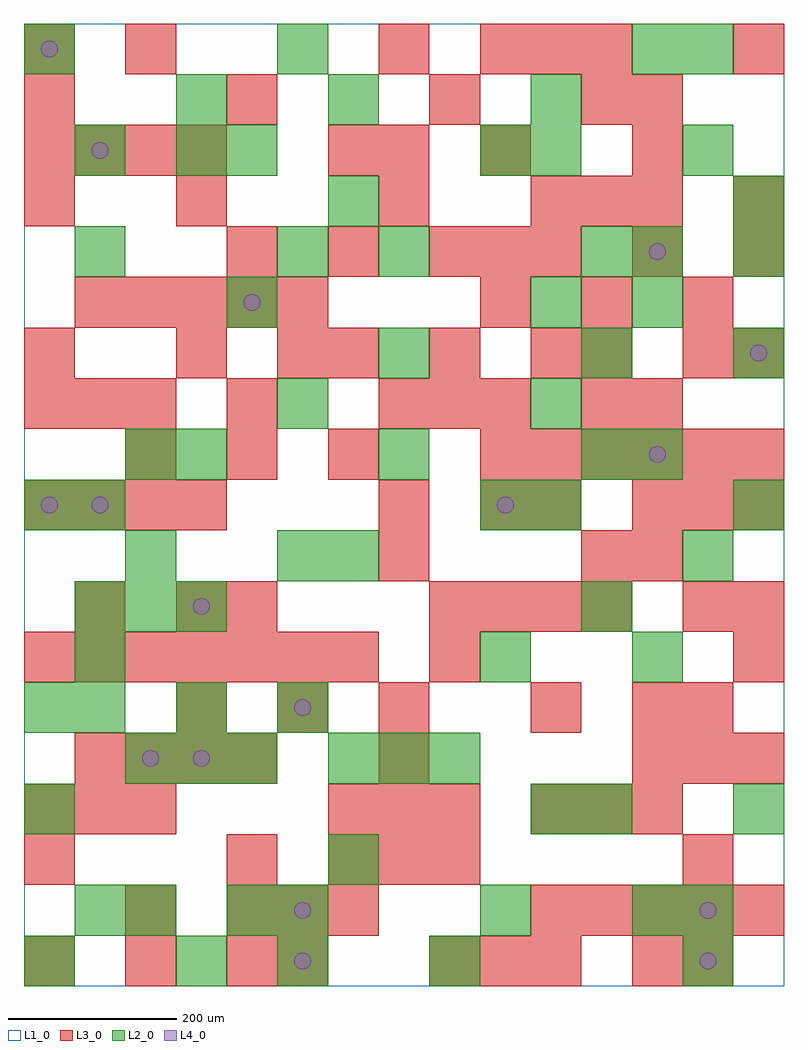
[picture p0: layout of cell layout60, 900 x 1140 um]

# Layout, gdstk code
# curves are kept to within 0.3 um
import gdstk
lib = gdstk.Library(unit=1e-6, precision=1e-09)
def R(c, l, rs):  # rectangles x0, y0, x1, y1
    for r in rs: c.add(gdstk.rectangle(r[:2], r[2:], *l))
def A(c, l, x, y, w, h, nx, ny, dx, dy):  # array of equal rectangles
    R(c, l, [(x+i*dx, y+j*dy, x+i*dx+w, y+j*dy+h) for i in range(nx) for j in range(ny)])
def P(c, l, *ps):  # polygons
    for p in ps: c.add(gdstk.Polygon(p, *l))
L1_0 = (1, 0)
L2_0 = (2, 0)
L3_0 = (3, 0)
L4_0 = (4, 0)

layout60 = lib.new_cell('layout60')
R(layout60, L1_0, [(0,0,900,1140)])
A(layout60, L2_0, 120, 240, 60, 60, 3, 1, 60, 0)
A(layout60, L2_0, 360, 240, 60, 60, 3, 1, 60, 0)
A(layout60, L2_0, 60, 300, 60, 60, 3, 1, 120, 0)
A(layout60, L2_0, 60, 420, 60, 60, 3, 1, 60, 0)
A(layout60, L2_0, 300, 480, 60, 60, 1, 3, 0, 180)
A(layout60, L2_0, 600, 540, 60, 60, 1, 3, 0, 120)
A(layout60, L2_0, 180, 600, 60, 60, 3, 1, 240, 0)
R(layout60, L2_0, [(0,0,60,60), (180,0,240,60), (300,0,360,60), (480,0,540,60), (780,0,840,60), (60,60,120,120), (120,60,180,120), (240,60,300,120), (300,60,360,120), (540,60,600,120), (720,60,780,120), (780,60,840,120), (360,120,420,180), (0,180,60,240), (600,180,660,240), (660,180,720,240), (840,180,900,240), (0,300,60,360), (60,360,120,420), (540,360,600,420), (720,360,780,420), (660,420,720,480), (120,480,180,540), (360,480,420,540), (780,480,840,540), (0,540,60,600), (60,540,120,600), (540,540,600,600), (840,540,900,600), (120,600,180,660), (720,600,780,660), (420,720,480,780), (660,720,720,780), (840,720,900,780), (240,780,300,840), (720,780,780,840), (60,840,120,900), (420,840,480,900), (660,840,720,900), (720,840,780,900), (840,840,900,900), (360,900,420,960), (840,900,900,960), (60,960,120,1020), (180,960,240,1020), (240,960,300,1020), (540,960,600,1020), (600,960,660,1020), (780,960,840,1020), (180,1020,240,1080), (360,1020,420,1080), (600,1020,660,1080), (0,1080,60,1140), (300,1080,360,1140), (720,1080,780,1140), (780,1080,840,1140)])
A(layout60, L3_0, 0, 0, 60, 60, 3, 1, 120, 0)
A(layout60, L3_0, 480, 0, 60, 60, 3, 1, 60, 0)
A(layout60, L3_0, 240, 60, 60, 60, 3, 1, 60, 0)
A(layout60, L3_0, 600, 60, 60, 60, 5, 1, 60, 0)
A(layout60, L3_0, 360, 120, 60, 60, 3, 2, 60, 60)
A(layout60, L3_0, 0, 180, 60, 60, 3, 2, 60, 480)
A(layout60, L3_0, 600, 180, 60, 60, 3, 2, 60, 720)
A(layout60, L3_0, 60, 240, 60, 60, 4, 1, 60, 0)
A(layout60, L3_0, 720, 240, 60, 60, 3, 2, 60, 300)
A(layout60, L3_0, 180, 300, 60, 60, 3, 1, 120, 0)
A(layout60, L3_0, 720, 300, 60, 60, 1, 3, 0, 180)
A(layout60, L3_0, 0, 360, 60, 60, 7, 1, 60, 0)
A(layout60, L3_0, 480, 420, 60, 60, 4, 1, 60, 0)
A(layout60, L3_0, 0, 540, 60, 60, 4, 2, 60, 420)
A(layout60, L3_0, 120, 600, 60, 60, 3, 1, 120, 0)
A(layout60, L3_0, 540, 600, 60, 60, 6, 1, 60, 0)
A(layout60, L3_0, 420, 660, 60, 60, 3, 1, 60, 0)
A(layout60, L3_0, 0, 720, 60, 60, 1, 3, 0, 180)
A(layout60, L3_0, 360, 720, 60, 60, 3, 1, 120, 0)
A(layout60, L3_0, 840, 720, 60, 60, 1, 3, 0, 180)
A(layout60, L3_0, 60, 780, 60, 60, 5, 1, 60, 0)
A(layout60, L3_0, 540, 780, 60, 60, 3, 1, 120, 0)
A(layout60, L3_0, 240, 840, 60, 60, 3, 1, 120, 0)
A(layout60, L3_0, 600, 840, 60, 60, 3, 1, 120, 0)
A(layout60, L3_0, 0, 1020, 60, 60, 3, 1, 240, 0)
A(layout60, L3_0, 540, 1080, 60, 60, 3, 1, 60, 0)
R(layout60, L3_0, [(300,0,360,60), (720,0,780,60), (780,0,840,60), (120,60,180,120), (0,120,60,180), (240,120,300,180), (780,120,840,180), (420,240,480,300), (600,300,660,360), (780,300,840,360), (480,360,540,420), (840,360,900,420), (60,420,120,480), (180,420,240,480), (240,420,300,480), (780,420,840,480), (840,420,900,480), (420,480,480,540), (660,480,720,540), (420,540,480,600), (540,540,600,600), (600,540,660,600), (240,660,300,720), (660,660,720,720), (180,720,240,780), (300,720,360,780), (660,720,720,780), (780,720,840,780), (540,840,600,900), (180,900,240,960), (420,900,480,960), (360,960,420,1020), (420,960,480,1020), (540,960,600,1020), (720,960,780,1020), (660,1020,720,1080), (720,1020,780,1080), (120,1080,180,1140), (420,1080,480,1140)])
P(layout60, L4_0, [(40,570),(39.239,573.827),(37.071,577.071),(33.827,579.239),(30,580),(26.173,579.239),(22.929,577.071),(20.761,573.827),(20,570),(20.761,566.173),(22.929,562.929),(26.173,560.761),(30,560),(33.827,560.761),(37.071,562.929),(39.239,566.173)],
  [(40,1110),(39.239,1113.827),(37.071,1117.071),(33.827,1119.239),(30,1120),(26.173,1119.239),(22.929,1117.071),(20.761,1113.827),(20,1110),(20.761,1106.173),(22.929,1102.929),(26.173,1100.761),(30,1100),(33.827,1100.761),(37.071,1102.929),(39.239,1106.173)],
  [(100,570),(99.239,573.827),(97.071,577.071),(93.827,579.239),(90,580),(86.173,579.239),(82.929,577.071),(80.761,573.827),(80,570),(80.761,566.173),(82.929,562.929),(86.173,560.761),(90,560),(93.827,560.761),(97.071,562.929),(99.239,566.173)],
  [(100,990),(99.239,993.827),(97.071,997.071),(93.827,999.239),(90,1000),(86.173,999.239),(82.929,997.071),(80.761,993.827),(80,990),(80.761,986.173),(82.929,982.929),(86.173,980.761),(90,980),(93.827,980.761),(97.071,982.929),(99.239,986.173)],
  [(160,270),(159.239,273.827),(157.071,277.071),(153.827,279.239),(150,280),(146.173,279.239),(142.929,277.071),(140.761,273.827),(140,270),(140.761,266.173),(142.929,262.929),(146.173,260.761),(150,260),(153.827,260.761),(157.071,262.929),(159.239,266.173)],
  [(220,270),(219.239,273.827),(217.071,277.071),(213.827,279.239),(210,280),(206.173,279.239),(202.929,277.071),(200.761,273.827),(200,270),(200.761,266.173),(202.929,262.929),(206.173,260.761),(210,260),(213.827,260.761),(217.071,262.929),(219.239,266.173)],
  [(220,450),(219.239,453.827),(217.071,457.071),(213.827,459.239),(210,460),(206.173,459.239),(202.929,457.071),(200.761,453.827),(200,450),(200.761,446.173),(202.929,442.929),(206.173,440.761),(210,440),(213.827,440.761),(217.071,442.929),(219.239,446.173)],
  [(280,810),(279.239,813.827),(277.071,817.071),(273.827,819.239),(270,820),(266.173,819.239),(262.929,817.071),(260.761,813.827),(260,810),(260.761,806.173),(262.929,802.929),(266.173,800.761),(270,800),(273.827,800.761),(277.071,802.929),(279.239,806.173)],
  [(340,30),(339.239,33.827),(337.071,37.071),(333.827,39.239),(330,40),(326.173,39.239),(322.929,37.071),(320.761,33.827),(320,30),(320.761,26.173),(322.929,22.929),(326.173,20.761),(330,20),(333.827,20.761),(337.071,22.929),(339.239,26.173)],
  [(340,90),(339.239,93.827),(337.071,97.071),(333.827,99.239),(330,100),(326.173,99.239),(322.929,97.071),(320.761,93.827),(320,90),(320.761,86.173),(322.929,82.929),(326.173,80.761),(330,80),(333.827,80.761),(337.071,82.929),(339.239,86.173)],
  [(340,330),(339.239,333.827),(337.071,337.071),(333.827,339.239),(330,340),(326.173,339.239),(322.929,337.071),(320.761,333.827),(320,330),(320.761,326.173),(322.929,322.929),(326.173,320.761),(330,320),(333.827,320.761),(337.071,322.929),(339.239,326.173)],
  [(580,570),(579.239,573.827),(577.071,577.071),(573.827,579.239),(570,580),(566.173,579.239),(562.929,577.071),(560.761,573.827),(560,570),(560.761,566.173),(562.929,562.929),(566.173,560.761),(570,560),(573.827,560.761),(577.071,562.929),(579.239,566.173)],
  [(760,630),(759.239,633.827),(757.071,637.071),(753.827,639.239),(750,640),(746.173,639.239),(742.929,637.071),(740.761,633.827),(740,630),(740.761,626.173),(742.929,622.929),(746.173,620.761),(750,620),(753.827,620.761),(757.071,622.929),(759.239,626.173)],
  [(760,870),(759.239,873.827),(757.071,877.071),(753.827,879.239),(750,880),(746.173,879.239),(742.929,877.071),(740.761,873.827),(740,870),(740.761,866.173),(742.929,862.929),(746.173,860.761),(750,860),(753.827,860.761),(757.071,862.929),(759.239,866.173)],
  [(820,30),(819.239,33.827),(817.071,37.071),(813.827,39.239),(810,40),(806.173,39.239),(802.929,37.071),(800.761,33.827),(800,30),(800.761,26.173),(802.929,22.929),(806.173,20.761),(810,20),(813.827,20.761),(817.071,22.929),(819.239,26.173)],
  [(820,90),(819.239,93.827),(817.071,97.071),(813.827,99.239),(810,100),(806.173,99.239),(802.929,97.071),(800.761,93.827),(800,90),(800.761,86.173),(802.929,82.929),(806.173,80.761),(810,80),(813.827,80.761),(817.071,82.929),(819.239,86.173)],
  [(880,750),(879.239,753.827),(877.071,757.071),(873.827,759.239),(870,760),(866.173,759.239),(862.929,757.071),(860.761,753.827),(860,750),(860.761,746.173),(862.929,742.929),(866.173,740.761),(870,740),(873.827,740.761),(877.071,742.929),(879.239,746.173)])

lib.write_gds('layout60.gds')
